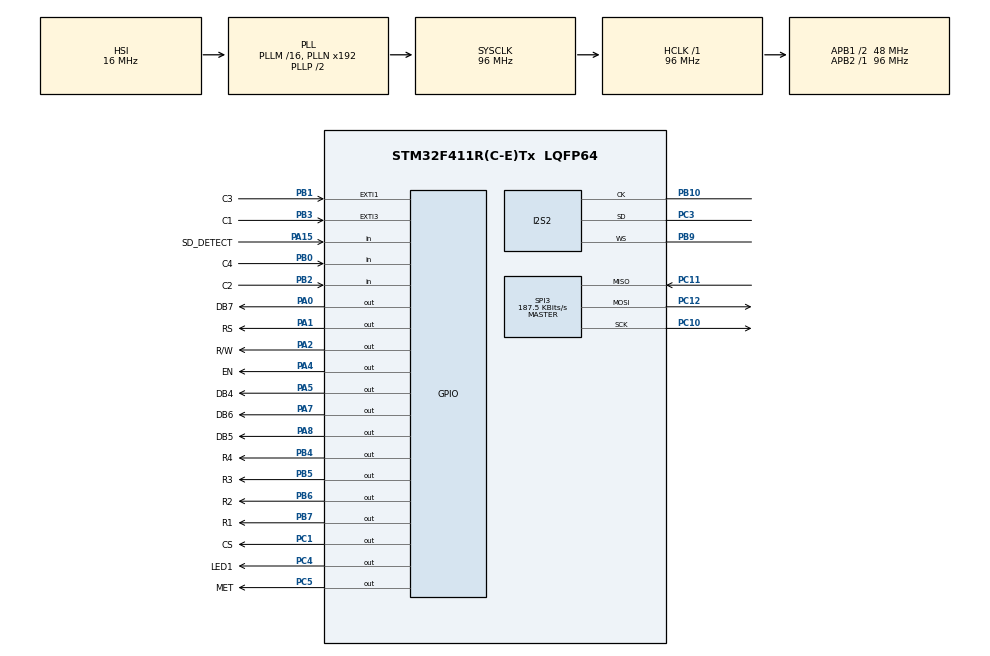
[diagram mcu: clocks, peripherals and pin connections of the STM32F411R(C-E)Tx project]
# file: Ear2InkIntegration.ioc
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Dma.Request0=SPI2_RX
Dma.SPI2_RX.0.Direction=DMA_PERIPH_TO_MEMORY
Dma.SPI2_RX.0.FIFOMode=DMA_FIFOMODE_DISABLE
Dma.SPI2_RX.0.Instance=DMA1_Stream3
Dma.SPI2_RX.0.MemDataAlignment=DMA_MDATAALIGN_HALFWORD
Dma.SPI2_RX.0.MemInc=DMA_MINC_ENABLE
Dma.SPI2_RX.0.Mode=DMA_CIRCULAR
Dma.SPI2_RX.0.PeriphDataAlignment=DMA_PDATAALIGN_HALFWORD
Dma.SPI2_RX.0.PeriphInc=DMA_PINC_DISABLE
Dma.SPI2_RX.0.Priority=DMA_PRIORITY_LOW
I2S2.AudioFreq=I2S_AUDIOFREQ_32K
I2S2.DataFormat=I2S_DATAFORMAT_24B
I2S2.ErrorAudioFreq=-0.26 %
I2S2.FullDuplexMode=I2S_FULLDUPLEXMODE_DISABLE
I2S2.Instance=SPI$Index
I2S2.Mode=I2S_MODE_MASTER_RX
I2S2.RealAudioFreq=31.914 KHz
I2S2.VirtualMode=I2S_MODE_MASTER
Mcu.Family=STM32F4
Mcu.Name=STM32F411R(C-E)Tx
Mcu.Package=LQFP64
NVIC.DMA1_Stream3_IRQn=true\:0\:0\:false\:false\:true\:false\:true\:true
NVIC.EXTI1_IRQn=true\:0\:0\:false\:false\:true\:true\:true\:true
NVIC.EXTI3_IRQn=true\:0\:0\:false\:false\:true\:true\:true\:true
NVIC.PriorityGroup=NVIC_PRIORITYGROUP_4
NVIC.SPI2_IRQn=true\:0\:0\:false\:false\:true\:true\:true\:true
PA0-WKUP.GPIO_Label=DB7
PA0-WKUP.Signal=GPIO_Output
PA1.GPIO_Label=RS
PA1.Signal=GPIO_Output
PA13.Mode=Serial_Wire
PA13.Signal=SYS_JTMS-SWDIO
PA14.Mode=Serial_Wire
PA14.Signal=SYS_JTCK-SWCLK
PA15.GPIO_Label=SD_DETECT
PA15.GPIO_PuPd=GPIO_PULLUP
PA15.Signal=GPIO_Input
PA2.GPIO_Label=R/W
PA2.Signal=GPIO_Output
PA4.GPIO_Label=EN
PA4.Signal=GPIO_Output
PA5.GPIO_Label=DB4
PA5.Signal=GPIO_Output
PA7.GPIO_Label=DB6
PA7.Signal=GPIO_Output
PA8.GPIO_Label=DB5
PA8.Signal=GPIO_Output
PB0.GPIO_Label=C4
PB0.GPIO_PuPd=GPIO_PULLUP
PB0.Signal=GPIO_Input
PB1.GPIO_Label=C3
PB1.GPIO_ModeDefaultEXTI=GPIO_MODE_IT_FALLING
PB1.GPIO_PuPd=GPIO_PULLUP
PB1.Signal=GPXTI1
PB10.Mode=Half_Duplex_Master
PB10.Signal=I2S2_CK
PB2.GPIO_Label=C2
PB2.GPIO_PuPd=GPIO_PULLUP
PB2.Signal=GPIO_Input
PB3.GPIO_Label=C1
PB3.GPIO_ModeDefaultEXTI=GPIO_MODE_IT_FALLING
PB3.GPIO_PuPd=GPIO_PULLUP
PB3.Signal=GPXTI3
PB4.GPIO_Label=R4
PB4.PinState=GPIO_PIN_SET
PB4.Signal=GPIO_Output
PB5.GPIO_Label=R3
PB5.PinState=GPIO_PIN_SET
PB5.Signal=GPIO_Output
PB6.GPIO_Label=R2
PB6.PinState=GPIO_PIN_SET
PB6.Signal=GPIO_Output
PB7.GPIO_Label=R1
PB7.PinState=GPIO_PIN_SET
PB7.Signal=GPIO_Output
PB9.Mode=Half_Duplex_Master
PB9.Signal=I2S2_WS
PC1.GPIO_Label=CS
PC1.PinState=GPIO_PIN_SET
PC1.Signal=GPIO_Output
PC10.Mode=Full_Duplex_Master
PC10.Signal=SPI3_SCK
PC11.Mode=Full_Duplex_Master
PC11.Signal=SPI3_MISO
PC12.Mode=Full_Duplex_Master
PC12.Signal=SPI3_MOSI
PC3.Mode=Half_Duplex_Master
PC3.Signal=I2S2_SD
PC4.GPIO_Label=LED1
PC4.Signal=GPIO_Output
PC5.GPIO_Label=MET
PC5.Signal=GPIO_Output
ProjectManager.HeapSize=0x200
ProjectManager.StackSize=0x400
ProjectManager.TargetToolchain=STM32CubeIDE
RCC.AHBFreq_Value=96000000
RCC.APB1CLKDivider=RCC_HCLK_DIV2
RCC.APB1Freq_Value=48000000
RCC.APB1TimFreq_Value=96000000
RCC.APB2Freq_Value=96000000
RCC.APB2TimFreq_Value=96000000
RCC.CortexFreq_Value=96000000
RCC.HCLKFreq_Value=96000000
RCC.HSE_VALUE=25000000
RCC.HSI_VALUE=16000000
RCC.LSE_VALUE=32768
RCC.SYSCLKFreq_VALUE=96000000
RCC.SYSCLKSource=RCC_SYSCLKSOURCE_PLLCLK
RCC.VCOOutputFreq_Value=192000000
SPI3.BaudRatePrescaler=SPI_BAUDRATEPRESCALER_256
SPI3.CalculateBaudRate=187.5 KBits/s
SPI3.Direction=SPI_DIRECTION_2LINES
SPI3.Mode=SPI_MODE_MASTER
SPI3.VirtualType=VM_MASTER
TIM1.Prescaler=71
VP_FATFS_VS_Generic.Mode=User_defined
VP_TIM1_VS_ClockSourceINT.Mode=Internal
board=custom

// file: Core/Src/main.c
/* USER CODE BEGIN Header */
/**
  ******************************************************************************
  * @file           : main.c
  * @brief          : Main program body
  ******************************************************************************
  * @attention
  *
  * Copyright (c) 2026 STMicroelectronics.
  * All rights reserved.
  *
  * This software is licensed under terms that can be found in the LICENSE file
  * in the root directory of this software component.
  * If no LICENSE file comes with this software, it is provided AS-IS.
  *
  ******************************************************************************
  */
/* USER CODE END Header */
#include "main.h"
#include "dma.h"
#include "fatfs.h"
#include "i2s.h"
#include "spi.h"
#include "tim.h"
#include "gpio.h"

/* USER CODE BEGIN Includes */
#include "arm_math.h"
#include "arm_compiler_specific.h"
#include "constants.h"
#include "yin.h"
#include "preprocessing.h"
#include "postprocessing.h"
#include "to_midi.h"
#include <math.h>
#include <stdio.h>
#include <stdbool.h>
#include "LCD1602.h"
#include "sd_functions.h"
#include "stdio.h"
#include "sd_benchmark.h"
#include "integration_functions.h"

/* USER CODE END Includes */

/* USER CODE BEGIN PV */

// MIC
uint16_t  mic_dma_buffer[MIC_DOUBLE_BUF];
float32_t frame_buffer[FRAME_LENGTH];
volatile bool half_ready = 0;
volatile bool full_ready = 0;

float32_t f0;
uint8_t   midi_buffer[512];
float32_t f0_estimates[MAX_FRAMES];
float32_t f0_times[MAX_FRAMES];
int       total_frames = 0;
int       midi_size = 0;
int       note_event_count = 0;
NoteEvent note_events[MAX_FRAMES];

// Keypad
volatile uint8_t start_flag, stop_flag, processing;

// LCD
static uint32_t last_beat_tick = 0;
static uint8_t  beat_visible = 0;

/* USER CODE END PV */

void SystemClock_Config(void);
/* USER CODE BEGIN PFP */

static float32_t dc_x_prev = 0.0f;
static float32_t dc_y_prev = 0.0f;

static inline float32_t dc_block(float32_t x) {
    float32_t y = x - dc_x_prev + 0.995f * dc_y_prev;
    dc_x_prev = x;
    dc_y_prev = y;
    return y;
}

static void process_mic_dma(int dma_offset) {
	// shift [HOP_LENGTH:FRAME_LENGTH-1] --> [0:HOP_LENGTH-1] (idx 0 = oldest frame & last idx = newest)
	arm_copy_f32(&frame_buffer[HOP_LENGTH], &frame_buffer[0], HOP_LENGTH);

	// Reconstruct 24-bit mic data on first half of buffer
	for (int i = 0; i < HOP_LENGTH; i++) {
	    int idx = dma_offset + (i << 2);
	    int32_t sample = (mic_dma_buffer[idx] << 16) | mic_dma_buffer[idx+1];
	    sample >>= 8;
	    frame_buffer[HOP_LENGTH + i] = dc_block((float32_t)sample);
	}
}

/* USER CODE END PFP */

/* USER CODE BEGIN 0 */
int row = 0;
int col = 0;
char key;

/* USER CODE END 0 */

int main(void)
{

  /* MCU Configuration--------------------------------------------------------*/

  /* Reset of all peripherals, Initializes the Flash interface and the Systick. */
  HAL_Init();

  /* Configure the system clock */
  SystemClock_Config();

  /* Initialize all configured peripherals */
  MX_GPIO_Init();
  MX_DMA_Init();
  MX_I2S2_Init();
  MX_SPI3_Init();
  MX_TIM1_Init();
  /* USER CODE BEGIN 2 */
  HAL_TIM_Base_Start(&htim1);
  HAL_GPIO_WritePin (R1_GPIO_Port, R1_Pin, GPIO_PIN_SET);  //Pull the R1 High
  HAL_GPIO_WritePin (R2_GPIO_Port, R2_Pin, GPIO_PIN_SET);  // Pull the R2 High
  HAL_GPIO_WritePin (R3_GPIO_Port, R3_Pin, GPIO_PIN_SET);  // Pull the R3 High
  HAL_GPIO_WritePin (R4_GPIO_Port, R4_Pin, GPIO_PIN_RESET);  // Pull the R4 low

  // initialize LCD
  HAL_Delay(10);
  lcd_init ();
  lcd_put_cur(0, 0);
  lcd_send_string("                ");
  lcd_put_cur(1, 0);
  lcd_send_string("                ");

  HAL_Delay(10);
  lcd_clear();
  HAL_Delay(10);
  lcd_put_cur(0,0);
  HAL_Delay(10);

  lcd_send_string("INITIALIZING");
  lcd_put_cur(1, 0);
  HAL_Delay(10);

  // Initialize DSP, DMA, random LED
  yin_init();
  preprocessing_init();
  HAL_I2S_Receive_DMA(&hi2s2, mic_dma_buffer, MIC_BUF);
  HAL_GPIO_TogglePin(GPIOC, LED1_Pin);
  HAL_GPIO_WritePin(GPIOC, GPIO_PIN_1, GPIO_PIN_SET);

  lcd_send_string("PRESS * TO START");

  /* USER CODE END 2 */

  /* Infinite loop */
  /* USER CODE BEGIN WHILE */

  // Initialize SD Card
  while (1)
  {
	  if (start_flag) {
		  start_flag = 0;
		  processing = 1; // processing flag
		  total_frames = 0;
		  note_event_count = 0;
		  midi_size = 0;

		  lcd_clear();
		  lcd_put_cur(0, 0);
		  lcd_send_string("REC AT 80 BPM");
	  }
	  if (stop_flag)  {
		  stop_flag  = 0;
		  processing = 0;

		  lcd_clear();
		  lcd_put_cur(0, 0);
		  lcd_send_string("WRITING TO FILE");

		  // Write to MIDI BUFFER
		  note_event_count = segment_notes(
			  f0_estimates, f0_times, total_frames,
			  MIN_FRAMES, (float32_t)PITCH_TOLERANCE,
			  note_events, MAX_FRAMES
		  );

		  compensate_onset(note_events, note_event_count);
		  snap_notes(note_events, note_event_count, BPM);
		  midi_size = write_midi_file(
			  note_events, note_event_count,
			  BPM, midi_buffer, sizeof(midi_buffer)
		  );

		  lcd_clear();
		  lcd_put_cur(0, 0);
		  lcd_send_string("DONE");
	  }

	  // Continuous mic processing while recording
	  if (processing) {
		  if (half_ready) {
			  half_ready = 0;
			  process_mic_dma(0);
			  f0 = preprocess_audio(frame_buffer);
			  if (total_frames < MAX_FRAMES) {
				  f0_estimates[total_frames] = f0;
				  f0_times[total_frames] = (float32_t)total_frames * FRAME_TIME;
				  total_frames++;
			  }
			  if (total_frames >= MAX_FRAMES) {
				  stop_flag = 1;  // auto-stop when buffer full
			  }
		  }
		  if (full_ready) {
			  full_ready = 0;
			  process_mic_dma(MIC_BUF);
			  f0 = preprocess_audio(frame_buffer);
			  if (total_frames < MAX_FRAMES) {
				  f0_estimates[total_frames] = f0;
				  f0_times[total_frames] = (float32_t)total_frames * FRAME_TIME;
				  total_frames++;
			  }
			  if (total_frames >= MAX_FRAMES) {
				  stop_flag = 1;
			  }
		  }

		  uint32_t now = HAL_GetTick();
		  uint32_t phase = (now - last_beat_tick);

		  if (!beat_visible && phase >= BEAT_MS) {
			  // New beat — show the indicator
			  lcd_put_cur(1, 0);
			  lcd_send_string("* BPM 80 *");
			  beat_visible = 1;
			  last_beat_tick = now;
		  }
		  else if (beat_visible && phase >= FLASH_MS) {
			  // Flash window ended — clear it
			  lcd_put_cur(1, 0);
			  lcd_send_string("          ");   // 10 spaces to erase
			  beat_visible = 0;
		  }
	  }

    /* USER CODE END WHILE */

  }
}

void SystemClock_Config(void)
{
  RCC_OscInitTypeDef RCC_OscInitStruct = {0};
  RCC_ClkInitTypeDef RCC_ClkInitStruct = {0};

  /** Configure the main internal regulator output voltage
  */
  __HAL_RCC_PWR_CLK_ENABLE();
  __HAL_PWR_VOLTAGESCALING_CONFIG(PWR_REGULATOR_VOLTAGE_SCALE1);

  /** Initializes the RCC Oscillators according to the specified parameters
  * in the RCC_OscInitTypeDef structure.
  */
  RCC_OscInitStruct.OscillatorType = RCC_OSCILLATORTYPE_HSI;
  RCC_OscInitStruct.HSIState = RCC_HSI_ON;
  RCC_OscInitStruct.HSICalibrationValue = RCC_HSICALIBRATION_DEFAULT;
  RCC_OscInitStruct.PLL.PLLState = RCC_PLL_ON;
  RCC_OscInitStruct.PLL.PLLSource = RCC_PLLSOURCE_HSI;
  RCC_OscInitStruct.PLL.PLLM = 16;
  RCC_OscInitStruct.PLL.PLLN = 192;
  RCC_OscInitStruct.PLL.PLLP = RCC_PLLP_DIV2;
  RCC_OscInitStruct.PLL.PLLQ = 4;
  if (HAL_RCC_OscConfig(&RCC_OscInitStruct) != HAL_OK)
  {
    Error_Handler();
  }

  /** Initializes the CPU, AHB and APB buses clocks
  */
  RCC_ClkInitStruct.ClockType = RCC_CLOCKTYPE_HCLK|RCC_CLOCKTYPE_SYSCLK
                              |RCC_CLOCKTYPE_PCLK1|RCC_CLOCKTYPE_PCLK2;
  RCC_ClkInitStruct.SYSCLKSource = RCC_SYSCLKSOURCE_PLLCLK;
  RCC_ClkInitStruct.AHBCLKDivider = RCC_SYSCLK_DIV1;
  RCC_ClkInitStruct.APB1CLKDivider = RCC_HCLK_DIV2;
  RCC_ClkInitStruct.APB2CLKDivider = RCC_HCLK_DIV1;

  if (HAL_RCC_ClockConfig(&RCC_ClkInitStruct, FLASH_LATENCY_3) != HAL_OK)
  {
    Error_Handler();
  }
}

/* USER CODE BEGIN 4 */
void HAL_I2S_RxHalfCpltCallback(I2S_HandleTypeDef *hi2s) {half_ready = 1; }
void HAL_I2S_RxCpltCallback(I2S_HandleTypeDef *hi2s) {full_ready = 1; }

void HAL_GPIO_EXTI_Callback(uint16_t GPIO_pin) {
	if(GPIO_pin == C1_Pin) {start_flag = 1; }
	else if(GPIO_pin == C3_Pin) {stop_flag = 1; }
}

/* USER CODE END 4 */

void Error_Handler(void)
{
  __disable_irq();
  while (1)
  {
  }
}
